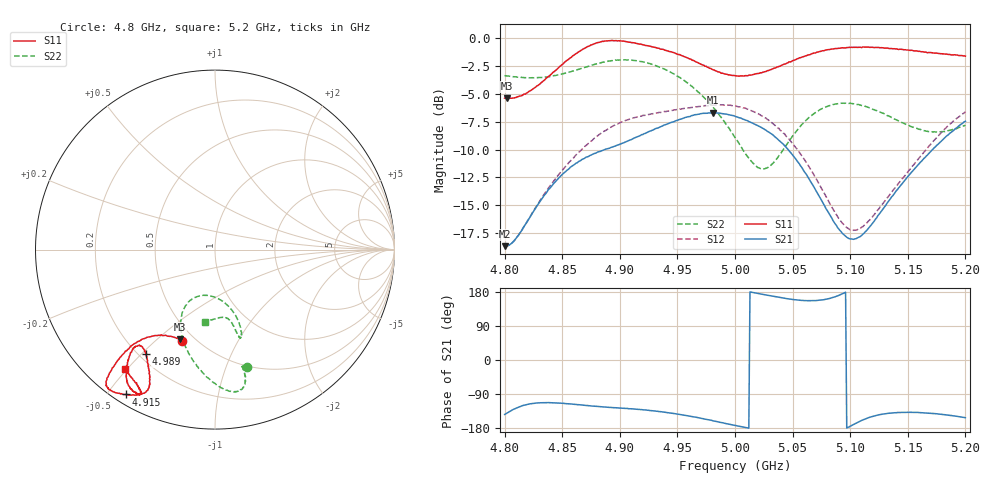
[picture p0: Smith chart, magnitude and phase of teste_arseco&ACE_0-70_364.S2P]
! Network Analyzer HP8722D
! Hewlett-Packard
! Data name: Linha & Wilkinson
! Saver's name: Rodrigo Anjos
! Comments: Teste da utilização de aquisição
! continua pelo VNA HP8722D
! Time and date: 8/5/2025 15:47
!  Frequency  S11  S21  S12  S22
# HZ  S  MA R 50
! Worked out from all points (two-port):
!   401 points, 4.8 GHz to 5.2 GHz, reference 50 ohm
!   highest |S21| = -6.69 dB at 4.981 GHz (marker M1); lowest = -18.7 dB at 4.8 GHz (marker M2)
!   |S21| within 3 dB of the highest: 4.896 GHz to 5.043 GHz (147.2 MHz wide, 2.96 % of centre); 5.174542 GHz to end of sweep
!   lowest |S11| = -5.4 dB at 4.802 GHz (marker M3), VSWR 3.32, Z = 21.2 - j29.8 ohm
!   |S11| at or under -10 dB: nowhere
!   |S22| runs from -11.8 to -1.9 dB; largest |S21 - S12| = 0.61
!   S11 on the Smith chart (normalised r, x): 4.8 GHz: 0.43, -0.61; 4.915 GHz: 0.04, -0.56; 4.989 GHz: 0.23, -0.52; 5.2 GHz: 0.11, -0.49
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4.8e9  0.5383 -109.7  0.1162 -143.7  0.1168 -87.7  0.6798 -74.6
4.802e9  0.5367 -111.3  0.1167 -140.0  0.1164 -84.1  0.6771 -74.8
4.812e9  0.5473 -118.1  0.1299 -124.6  0.1302 -67.8  0.6693 -76.0
4.832e9  0.6335 -128.5  0.1889 -112.8  0.1907 -53.7  0.6668 -76.9
4.867e9  0.8871 -130.6  0.2849 -118.9  0.3165 -53.2  0.7338 -76.5
4.887e9  0.9721 -128.5  0.3161 -124.2  0.3835 -57.7  0.7824 -78.3
4.915e9  0.9468 -121.5  0.3603 -130.1  0.443 -66.4  0.7926 -84.4
4.934e9  0.903 -116.9  0.3972 -136.1  0.4645 -72.1  0.7436 -90.2
4.953e9  0.8396 -115.7  0.4335 -144.1  0.4798 -78.2  0.6613 -98.3
4.981e9  0.7224 -121.3  0.463 -160.6  0.5007 -89.9  0.4898 -112.8
4.989e9  0.6976 -123.5  0.4585 -165.5  0.5021 -94.0  0.4333 -115.8
5e9  0.6798 -126.2  0.4461 -172.6  0.4959 -100.0  0.3583 -117.7
5.016e9  0.6878 -128.8  0.4138 178.0  0.4684 -109.5  0.2735 -108.9
5.026e9  0.7075 -129.6  0.3885 172.1  0.4395 -114.7  0.2592 -95.6
5.045e9  0.7736 -128.5  0.321 161.9  0.3604 -124.1  0.3337 -75.8
5.067e9  0.8542 -125.4  0.2211 156.7  0.251 -128.1  0.4518 -71.9
5.089e9  0.9001 -122.0  0.1411 169.2  0.1581 -114.6  0.5081 -73.5
5.101e9  0.912 -120.0  0.1253 -173.2  0.1376 -96.4  0.5094 -74.3
5.113e9  0.9118 -118.4  0.1348 -155.5  0.1455 -78.1  0.4948 -74.9
5.134e9  0.8997 -117.3  0.1871 -140.4  0.1971 -60.2  0.446 -76.1
5.168e9  0.8636 -120.7  0.3026 -140.4  0.3256 -54.9  0.3807 -82.0
5.2e9  0.8316 -127.1  0.4237 -152.3  0.467 -65.2  0.4068 -97.9
